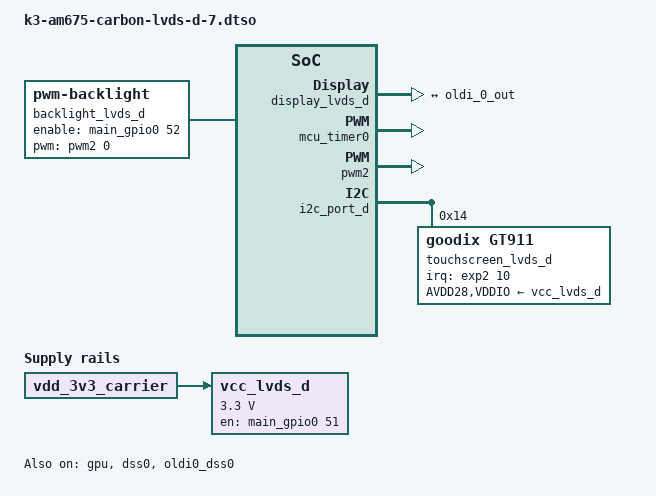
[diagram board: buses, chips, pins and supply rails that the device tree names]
// SPDX-License-Identifier: GPL-2.0-only OR MIT
/*
 * LVDS to LVDS Expansion Board with BD070LIC3 display for carbon AM67x
 *
 * Copyright (C) 2024 Ezurio LLC
 */

/dts-v1/;
/plugin/;

#include <dt-bindings/gpio/gpio.h>
#include <dt-bindings/interrupt-controller/irq.h>
#include <dt-bindings/pwm/pwm.h>
#include "k3-pinctrl.h"

&{/} {
	backlight_lvds_d: backlight-lvds {
		compatible = "pwm-backlight";

		brightness-levels = <0 1 2 3 4 5 6 7 8 9 10>;
		default-brightness-level = <8>;
		pwms = <&pwm2 0 30000 0>; /* 33.3 kHz */

		pinctrl-names = "default";
		pinctrl-0 = <&main_lvds_d_backlight_en_default>;
		enable-gpios = <&main_gpio0 52 GPIO_ACTIVE_HIGH>;
	};

	vcc_lvds_d: regulator-vcc-lvds-d {
		compatible = "regulator-fixed";
		regulator-name = "vcc_lvds-d";
		regulator-min-microvolt = <3300000>;
		regulator-max-microvolt = <3300000>;

		vin-supply = <&vdd_3v3_carrier>;

		pinctrl-names = "default";
		pinctrl-0 = <&main_lvds_d_power_default>;
		gpios = <&main_gpio0 51 GPIO_ACTIVE_HIGH>;
		enable-active-high;
		startup-delay-us = <20000>;
	};

	display_lvds_d: display-lvds {
		compatible = "panel-lvds";
		data-mapping = "vesa-24";

		power-supply = <&vcc_lvds_d>;
		backlight = <&backlight_lvds_d>;

		width-mm = <150>;
		height-mm = <94>;

		panel-timing {
			clock-frequency = <70000000>;
			hactive = <1280>;
			vactive = <800>;

			hback-porch = <4>;
			hfront-porch = <155>;
			hsync-len = <5>;

			vback-porch = <2>;
			vfront-porch = <2>;
			vsync-len = <4>;
		};

		port {
			lcd_in0: endpoint {
				remote-endpoint = <&oldi_0_out>;
			};
		};
	};
};

&main_pmx0 {
	main_lvds_d_power_default: main-lvds-d-power-default-pins {
		pinctrl-single,pins = <
			J722S_IOPAD(0x0d0, PIN_INPUT, 7) /* LVDS_D_VDD_EN (Y26) VOUT0_DATA6.GPIO0_51 */
		>;
	};

	main_lvds_d_backlight_en_default: main-lvds-d-backlight-en-default-pins {
		pinctrl-single,pins = <
			J722S_IOPAD(0x0d4, PIN_INPUT, 7) /* LVDS_D_BL_EN (Y27) VOUT0_DATA7.GPIO0_52 */
		>;
	};
};

&mcu_timer0 {
	status = "okay";

	/* Interrupt not provided by upstream dts */
	interrupt-parent = <&main_gpio_intr>;
	interrupts = <170 IRQ_TYPE_EDGE_RISING>;
};

&pwm2 {
	status = "okay";
};

&gpu {
	status = "okay";
};

&dss0 {
	status = "okay";
};

&dss0_ports {
	#address-cells = <1>;
	#size-cells = <0>;

	/* Video Port 1 Output to OLDI */
	port@0 {
		reg = <0>;
		#address-cells = <1>;
		#size-cells = <0>;

		dpi0_out0: endpoint@0 {
			reg = <0>;
			remote-endpoint = <&oldi_0_in>;
		};
	};
};

&oldi0_dss0 {
	status = "okay";
};

&oldi0_dss0_ports {
	#address-cells = <1>;
	#size-cells = <0>;

	port@0 {
		reg = <0>;
		oldi_0_in: endpoint {
			remote-endpoint = <&dpi0_out0>;
		};
	};

	port@1 {
		reg = <1>;
		oldi_0_out: endpoint {
			remote-endpoint = <&lcd_in0>;
		};
	};
};

&i2c_port_d {
	#address-cells = <1>;
	#size-cells = <0>;

	touchscreen_lvds_d: touchscreen-lvds-d@14 {
		compatible = "goodix,gt911";
		reg = <0x14>;
		AVDD28-supply = <&vcc_lvds_d>;
		VDDIO-supply = <&vcc_lvds_d>;
		interrupts-extended = <&exp2 10 IRQ_TYPE_EDGE_FALLING>;
		interrupt-names = "irq";
		irq-gpios = <&exp2 10 GPIO_ACTIVE_HIGH>;
		//reset-gpios = <&exp2 11 GPIO_ACTIVE_HIGH>;
		touchscreen-size-x = <1280>;
		touchscreen-size-y = <800>;
	};
};
